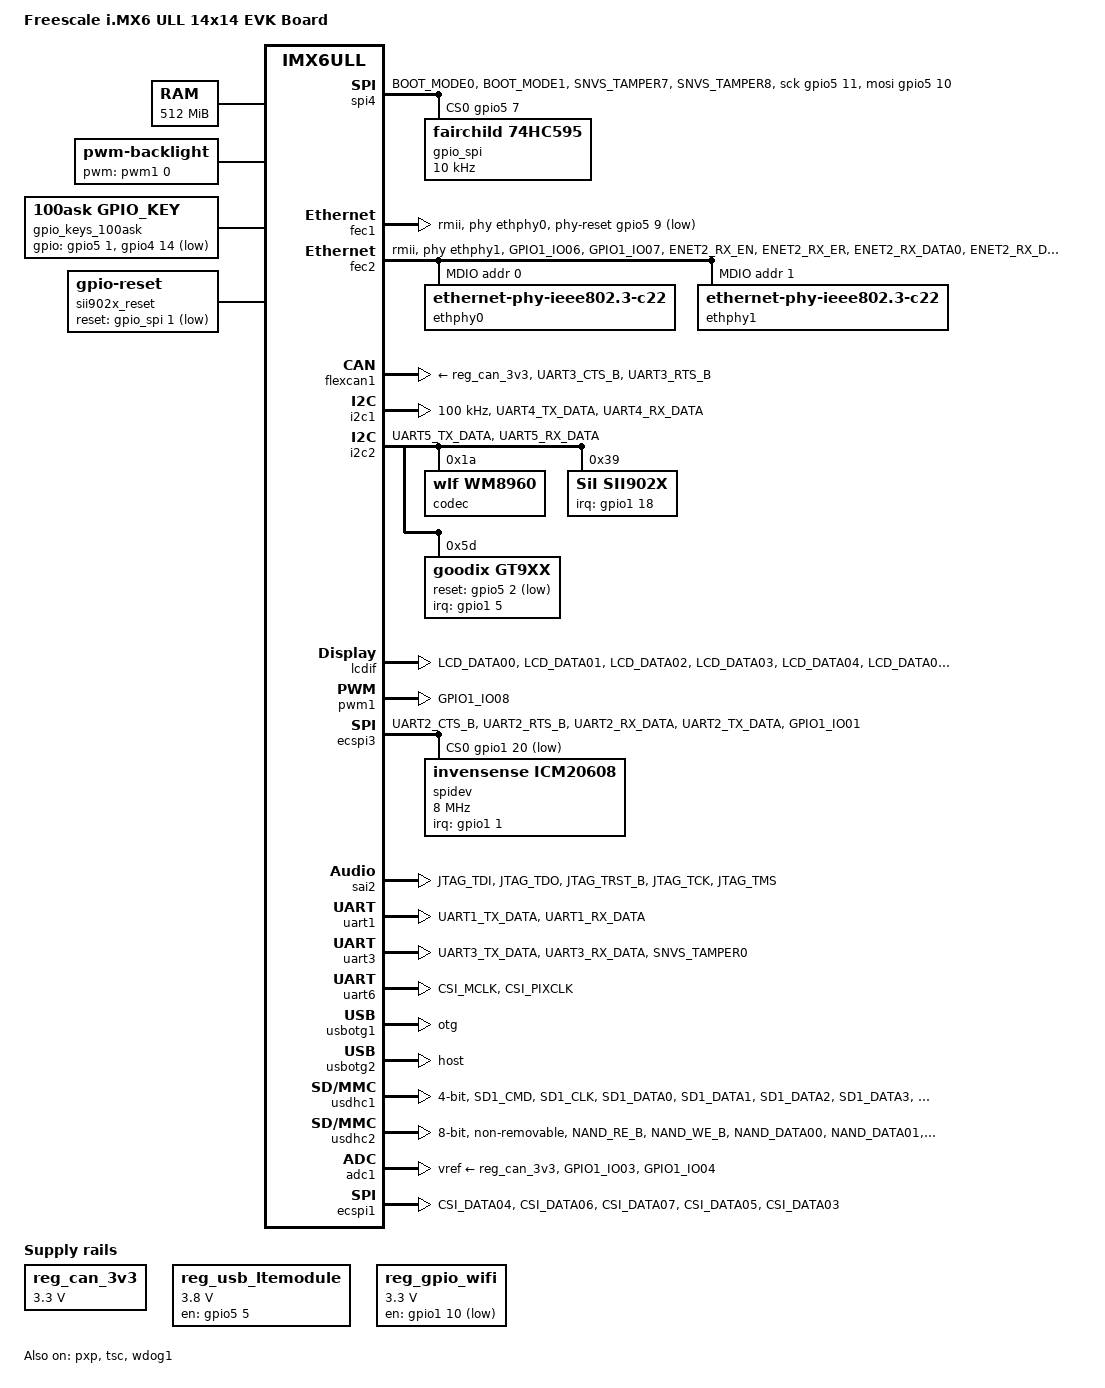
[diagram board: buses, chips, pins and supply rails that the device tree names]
/*
 * Copyright (C) 2016 Freescale Semiconductor, Inc.
 *
 * This program is free software; you can redistribute it and/or modify
 * it under the terms of the GNU General Public License version 2 as
 * published by the Free Software Foundation.
 */

/dts-v1/;

#include <dt-bindings/input/input.h>
#include "imx6ull.dtsi"

/ {
    model = "Freescale i.MX6 ULL 14x14 EVK Board";
    compatible = "fsl,imx6ull-14x14-evk", "fsl,imx6ull";

    chosen {
        stdout-path = &uart1;
    };

    memory {
        reg = <0x80000000 0x20000000>;
    };

    reserved-memory {
        #address-cells = <1>;
        #size-cells = <1>;
        ranges;

        linux,cma {
            compatible = "shared-dma-pool";
            reusable;
            size = <0x14000000>;
            linux,cma-default;
        };
    };

    backlight {
        compatible = "pwm-backlight";
        pwms = <&pwm1 0 1000>;
        brightness-levels = <0 1 2 3 4 5 6 8 10>;
        default-brightness-level = <8>;
        status = "okay";
    };

    pxp_v4l2 {
        compatible = "fsl,imx6ul-pxp-v4l2", "fsl,imx6sx-pxp-v4l2", "fsl,imx6sl-pxp-v4l2";
        status = "okay";
    };

    regulators {
        compatible = "simple-bus";
        #address-cells = <1>;
        #size-cells = <0>;

        reg_can_3v3: regulator@0 {
            compatible = "regulator-fixed";
            reg = <0>;
            regulator-name = "can-3v3";
            regulator-min-microvolt = <3300000>;
            regulator-max-microvolt = <3300000>;
        };

        reg_usb_ltemodule: regulator@1 {
            compatible = "regulator-fixed";
            regulator-name = "ltemodule-pwr";
            regulator-min-microvolt = <3800000>;
            regulator-max-microvolt = <3800000>;
            gpios = <&gpio5 5 GPIO_ACTIVE_HIGH>;
            enable-active-high;
            regulator-boot-on;
        };

        reg_gpio_wifi: regulator@2 {
            compatible = "regulator-fixed";
            regulator-name = "wifi-pwr";
            regulator-min-microvolt = <3300000>;
            regulator-max-microvolt = <3300000>;
            gpios = <&gpio1 10 GPIO_ACTIVE_LOW>;
            regulator-boot-on;
        };

    };

    leds {
        compatible = "gpio-leds";
        pinctrl-names = "default";
        pinctrl-0 = <&pinctrl_leds>;
        
        status = "disabled";

        led0: cpu {
            label = "cpu";
            gpios = <&gpio5 3 GPIO_ACTIVE_LOW>;
            default-state = "on";
            linux,default-trigger = "heartbeat";
        };
    };

    gpio_keys_100ask {
        compatible = "100ask,gpio_key";
	gpios = <&gpio5 1 GPIO_ACTIVE_HIGH
		 &gpio4 14 GPIO_ACTIVE_LOW>;
		
        pinctrl-names = "default";
        pinctrl-0 = <&key1_100ask &key2_100ask>;
    };

    gpio-keys {
        compatible = "gpio-keys";
        pinctrl-names = "default";
	status = "disabled";

        user1 {
            label = "User1 Button";
            gpios = <&gpio5 1 GPIO_ACTIVE_LOW>;
            gpio-key,wakeup;
            linux,code = <KEY_1>;
        };
        
        user2 {
            label = "User2 Button";
            gpios = <&gpio4 14 GPIO_ACTIVE_LOW>;
            gpio-key,wakeup;
            linux,code = <KEY_2>;
        };
    };
    sound {
            compatible = "fsl,imx6ul-evk-wm8960",
                     "fsl,imx-audio-wm8960";
            model = "wm8960-audio";
            cpu-dai = <&sai2>;
            audio-codec = <&codec>;
            asrc-controller = <&asrc>;
            codec-master;
            gpr = <&gpr 4 0x100000 0x100000>;
            hp-det = <3 0>;
            /*hp-det-gpios = <&gpio5 4 0>;
            mic-det-gpios = <&gpio5 4 0>;*/
            audio-routing =
                "Headphone Jack", "HP_L",
                "Headphone Jack", "HP_R",
                "Ext Spk", "SPK_LP",
                "Ext Spk", "SPK_LN",
                "Ext Spk", "SPK_RP",
                "Ext Spk", "SPK_RN",
                "LINPUT2", "Mic Jack",
                "LINPUT3", "Mic Jack",
                "RINPUT1", "Main MIC",
                "RINPUT2", "Main MIC",  
                "Mic Jack", "MICB",
                "Main MIC", "MICB",
                "CPU-Playback", "ASRC-Playback",
                "Playback", "CPU-Playback",
                "ASRC-Capture", "CPU-Capture",
                "CPU-Capture", "Capture";
                status = "okay";
        };
    
    spi4 {
        compatible = "spi-gpio";
        pinctrl-names = "default";
        pinctrl-0 = <&pinctrl_spi4>;
        pinctrl-assert-gpios = <&gpio5 8 GPIO_ACTIVE_LOW>;
        status = "okay";
        gpio-sck = <&gpio5 11 0>;
        gpio-mosi = <&gpio5 10 0>;
        cs-gpios = <&gpio5 7 0>;
        num-chipselects = <1>;
        #address-cells = <1>;
        #size-cells = <0>;

        gpio_spi: gpio_spi@0 {
            compatible = "fairchild,74hc595";
            gpio-controller;
            #gpio-cells = <2>;
            reg = <0>;
            registers-number = <1>;
            registers-default = /bits/ 8 <0x57>;
            spi-max-frequency = <10000>;
        };
    };
    
    sii902x_reset: sii902x-reset {
            compatible = "gpio-reset";
            reset-gpios = <&gpio_spi 1 GPIO_ACTIVE_LOW>;
            reset-delay-us = <100000>;
            #reset-cells = <0>;
            status = "okay";
        };

};

&gpmi{
    status = "disabled";
};
&cpu0 {
    arm-supply = <&reg_arm>;
    soc-supply = <&reg_soc>;
};

&clks {
    assigned-clocks = <&clks IMX6UL_CLK_PLL4_AUDIO_DIV>;
    assigned-clock-rates = <786432000>;
};

&fec1 {
    pinctrl-names = "default";
    pinctrl-0 = <&pinctrl_enet1>;
    phy-mode = "rmii";
    phy-handle = <&ethphy0>;
    phy-reset-gpios = <&gpio5 9 GPIO_ACTIVE_LOW>;
    phy-reset-duration = <26>;
    status = "okay";
};

&fec2 {
    pinctrl-names = "default";
    pinctrl-0 = <&pinctrl_enet2>;
    phy-mode = "rmii";
    phy-handle = <&ethphy1>;
    phy-reset-gpios = <&gpio5 6 GPIO_ACTIVE_LOW>;
    phy-reset-duration = <26>;
    status = "okay";

    mdio {
        #address-cells = <1>;
        #size-cells = <0>;

        ethphy0: ethernet-phy@0 {
            compatible = "ethernet-phy-ieee802.3-c22";
            smsc,disable-energy-detect;
            reg = <0>;
        };
        ethphy1: ethernet-phy@1 {
            compatible = "ethernet-phy-ieee802.3-c22";
            smsc,disable-energy-detect;
            reg = <1>;
        };
    };
};

&flexcan1 {
    pinctrl-names = "default";
    pinctrl-0 = <&pinctrl_flexcan1>;
    xceiver-supply = <&reg_can_3v3>;
    status = "okay";
};
&gpc {
    fsl,cpu_pupscr_sw2iso = <0x1>;
    fsl,cpu_pupscr_sw = <0x0>;
    fsl,cpu_pdnscr_iso2sw = <0x1>;
    fsl,cpu_pdnscr_iso = <0x1>;
    fsl,ldo-bypass = <0>; /* DCDC, ldo-enable */
};

&i2c1 {
    clock-frequency = <100000>;
    pinctrl-names = "default";
    pinctrl-0 = <&pinctrl_i2c1>;
    status = "okay";
};

&i2c2 {
    clock_frequency = <100000>;
    pinctrl-names = "default";
    pinctrl-0 = <&pinctrl_i2c2>;
    status = "okay";

    codec: wm8960@1a {
        compatible = "wlf,wm8960";
        reg = <0x1a>;
        clocks = <&clks IMX6UL_CLK_SAI2>;
        clock-names = "mclk";
        wlf,shared-lrclk;
        };
         sii902x: sii902x@39 {
                 compatible = "SiI,sii902x";
                 pinctrl-names = "default";
                 reset-names="sii902x";
                 pinctrl-0 = <&pinctrl_sii902x>;
                 resets = <&sii902x_reset>;
                 interrupt-parent = <&gpio1>;
                 interrupts = <18 IRQ_TYPE_EDGE_FALLING>;
                 mode_str ="1280x720M@60";
                 bits-per-pixel = <16>;
                 reg = <0x39>;
                 status = "okay";    
         };


        gt9xx@5d {
                compatible = "goodix,gt9xx";
                reg = <0x5d>;
                status = "okay";
                interrupt-parent = <&gpio1>;
                interrupts = <5 IRQ_TYPE_EDGE_FALLING>;
                pinctrl-names = "default";
                pinctrl-0 = <&pinctrl_tsc_reset &pinctrl_touchscreen_int>;
                /*pinctrl-1 = <&pinctrl_tsc_irq>;*/
                /*pinctrl-names = "default", "int-output-low", "int-output-high", "int-input";
                pinctrl-0 = <&ts_int_default>;
                pinctrl-1 = <&ts_int_output_low>;
                pinctrl-2 = <&ts_int_output_high>;
                pinctrl-3 = <&ts_int_input>;
                */
                reset-gpios = <&gpio5 2 GPIO_ACTIVE_LOW>;
                irq-gpios = <&gpio1 5 IRQ_TYPE_EDGE_FALLING>;
                irq-flags = <2>;                /*1:rising 2: falling*/

                touchscreen-max-id = <1>;
                touchscreen-size-x = <800>;
                touchscreen-size-y = <480>;
                touchscreen-max-w = <1024>;
                touchscreen-max-p = <1024>;
                /*touchscreen-key-map = <172>, <158>;*/ /*KEY_HOMEPAGE, KEY_BACK*/

                goodix,type-a-report = <0>;
                goodix,driver-send-cfg = <0>;
                goodix,create-wr-node = <1>;
                goodix,wakeup-with-reset = <0>;
                goodix,resume-in-workqueue = <0>;
                goodix,int-sync = <0>;
                goodix,swap-x2y = <0>;
                goodix,esd-protect = <0>;
                goodix,pen-suppress-finger = <0>;
                goodix,auto-update = <0>;
                goodix,auto-update-cfg = <0>;
                goodix,power-off-sleep = <0>;

                /*7*/
                goodix,cfg-group0 = [
                6b 00 04 58 02 05 0d 00 01 0f 
                28 0f 50 32 03 05 00 00 00 00 
                00 00 00 00 00 00 00 8a 2a 0c 
                45 47 0c 08 00 00 00 40 03 2c 
                00 01 00 00 00 03 64 32 00 00 
                00 28 64 94 d5 02 07 00 00 04 
                95 2c 00 8b 34 00 82 3f 00 7d 
                4c 00 7a 5b 00 7a 00 00 00 00 
                00 00 00 00 00 00 00 00 00 00 
                00 00 00 00 00 00 00 00 00 00 
                00 00 00 00 00 00 00 00 00 00 
                00 00 18 16 14 12 10 0e 0c 0a 
                08 06 04 02 ff ff 00 00 00 00 
                00 00 00 00 00 00 00 00 00 00 
                00 00 16 18 1c 1d 1e 1f 20 21 
                22 24 13 12 10 0f 0a 08 06 04 
                02 00 ff ff ff ff ff ff 00 00 
                00 00 00 00 00 00 00 00 00 00 
                00 00 00 00 79 01
                ];

                /*4.3*/
                goodix,cfg-group1 = [
                97 E0 01 10 01 05 0D 00 01 00
                00 05 5A 46 53 11 00 00 11 11
                14 14 14 22 0A 04 00 00 00 00
                00 00 53 00 14 00 00 84 00 00
                3C 00 00 64 1E 28 87 27 08 32
                34 05 0D 20 33 60 11 02 24 00
                00 64 80 80 14 02 00 00 54 89
                68 85 6D 82 72 80 76 7D 7B 7B
                00 00 00 00 00 00 00 F0 50 3C
                FF FF 07 00 00 00 02 14 14 03
                04 00 21 64 0A 00 00 00 00 00
                00 00 00 00 00 00 00 00 00 00
                00 00 00 00 00 00 00 00 00 00
                32 20 50 3C 3C 00 00 00 00 00
                0D 06 0C 05 0B 04 0A 03 FF FF
                FF FF FF FF 00 01 02 03 04 05
                06 07 08 09 0A 0B 0C 0D FF FF
                FF FF FF FF FF FF FF FF FF FF
                00 00 00 00 00 00 00 00 00 00
                00 00 00 00 3C 00 05 1E 00 02
                2A 1E 19 14 02 00 03 0A 05 00
                00 00 00 00 00 00 01 FF FF 86
                22 03 00 00 33 00 0F 00 00 00
                50 3C 50 00 00 00 00 2A 01
                ];

                /*5*/
                goodix,cfg-group2 = [
                00 20 03 E0 01 05 3C 00 01 08
                28 0C 50 32 03 05 00 00 00 00
                00 00 00 17 19 1E 14 8B 2B 0D
                33 35 0C 08 00 00 00 9A 03 11
                00 01 00 00 00 00 00 32 00 00
                00 20 58 94 C5 02 00 00 00 04
                B0 23 00 93 2B 00 7B 35 00 69
                41 00 5B 4F 00 5B 00 00 00 00
                00 00 00 00 00 00 00 00 00 00
                00 00 00 00 00 00 00 00 00 00
                00 00 00 00 00 00 00 00 00 00
                00 00 02 04 06 08 0A 0C 0E 10
                12 14 16 18 1A FF 00 00 00 00
                00 00 00 00 00 00 00 00 00 00
                00 00 00 02 04 06 08 0A 0C 0F
                10 12 13 16 18 1C 1D 1E 1F 20
                21 22 24 26 FF FF FF FF 00 00
                00 FF FF FF FF FF FF FF FF FF
                FF FF FF FF 48 01
                ];

        };


};

&iomuxc {
    pinctrl-names = "default";
    pinctrl-0 = <&pinctrl_hog_1>;
    imx6ul-evk {
        key2_100ask: key2_100ask {                /*!< Function assigned for the core: Cortex-A7[ca7] */
            fsl,pins = <
                MX6UL_PAD_NAND_CE1_B__GPIO4_IO14           0x000010B0
            >;
        };

        pinctrl_hog_1: hoggrp-1 {
            fsl,pins = <
                MX6UL_PAD_UART1_RTS_B__GPIO1_IO19   0x17059 /* SD1 CD */
                MX6UL_PAD_GPIO1_IO00__ANATOP_OTG1_ID    0x17059 /* USB OTG1 ID */
                // MX6UL_PAD_CSI_DATA07__GPIO4_IO28           0x000010B0
                MX6ULL_PAD_SNVS_TAMPER5__GPIO5_IO05        0x000110A0
            >;
        };
                pinctrl_sii902x: hdmigrp {
                fsl,pins = <
                        MX6UL_PAD_UART1_CTS_B__GPIO1_IO18 0x59
                            >;
            };
                pinctrl_touchscreen_int: lcdif_tsc_int {
                fsl,pins = <
                        MX6UL_PAD_GPIO1_IO05__GPIO1_IO05 0x000010B0
                            >;
                        };
        pinctrl_enet1: enet1grp {
            fsl,pins = <
            >;
        };

        pinctrl_enet2: enet2grp {
            fsl,pins = <
                MX6UL_PAD_GPIO1_IO06__ENET2_MDIO    0x1b0b0
                MX6UL_PAD_GPIO1_IO07__ENET2_MDC     0x1b0b0
                MX6UL_PAD_ENET2_RX_EN__ENET2_RX_EN  0x1b0b0
                MX6UL_PAD_ENET2_RX_ER__ENET2_RX_ER  0x1b0b0
                MX6UL_PAD_ENET2_RX_DATA0__ENET2_RDATA00 0x1b0b0
                MX6UL_PAD_ENET2_RX_DATA1__ENET2_RDATA01 0x1b0b0
                MX6UL_PAD_ENET2_TX_EN__ENET2_TX_EN  0x1b0b0
                MX6UL_PAD_ENET2_TX_DATA0__ENET2_TDATA00 0x1b0b0
                MX6UL_PAD_ENET2_TX_DATA1__ENET2_TDATA01 0x1b0b0
                MX6UL_PAD_ENET2_TX_CLK__ENET2_REF_CLK2  0x4001b031
                MX6UL_PAD_ENET1_RX_EN__ENET1_RX_EN  0x1b0b0
                MX6UL_PAD_ENET1_RX_ER__ENET1_RX_ER  0x1b0b0
                MX6UL_PAD_ENET1_RX_DATA0__ENET1_RDATA00 0x1b0b0
                MX6UL_PAD_ENET1_RX_DATA1__ENET1_RDATA01 0x1b0b0
                MX6UL_PAD_ENET1_TX_EN__ENET1_TX_EN  0x1b0b0
                MX6UL_PAD_ENET1_TX_DATA0__ENET1_TDATA00 0x1b0b0
                MX6UL_PAD_ENET1_TX_DATA1__ENET1_TDATA01 0x1b0b0
                MX6UL_PAD_ENET1_TX_CLK__ENET1_REF_CLK1  0x4001b031
            >;
        };

        pinctrl_flexcan1: flexcan1grp{
            fsl,pins = <
                MX6UL_PAD_UART3_CTS_B__FLEXCAN1_TX         0x000010B0
                MX6UL_PAD_UART3_RTS_B__FLEXCAN1_RX         0x000010B0
            >;
        };

        pinctrl_i2c1: i2c1grp {
            fsl,pins = <
                MX6UL_PAD_UART4_TX_DATA__I2C1_SCL 0x4001b8b0
                MX6UL_PAD_UART4_RX_DATA__I2C1_SDA 0x4001b8b0
            >;
        };

        pinctrl_i2c2: i2c2grp {
            fsl,pins = <
                MX6UL_PAD_UART5_TX_DATA__I2C2_SCL 0x4001b8b0
                MX6UL_PAD_UART5_RX_DATA__I2C2_SDA 0x4001b8b0
            >;
        };

        pinctrl_ecspi3: ecspi3 {              
                    fsl,pins = <
                MX6UL_PAD_UART2_CTS_B__ECSPI3_MOSI         0x000010B0
                MX6UL_PAD_UART2_RTS_B__ECSPI3_MISO         0x000010B0
                MX6UL_PAD_UART2_RX_DATA__ECSPI3_SCLK       0x000010B0
                //MX6UL_PAD_UART2_TX_DATA__ECSPI3_SS0        0x000010B0
                MX6UL_PAD_UART2_TX_DATA__GPIO1_IO20        0x000010B0
                MX6UL_PAD_GPIO1_IO01__GPIO1_IO01           0x000010B0
            >;
        };

        pinctrl_ecspi1: ecspi1 {
                     fsl,pins = <
                 MX6UL_PAD_CSI_DATA04__ECSPI1_SCLK         0x000010B0
                 MX6UL_PAD_CSI_DATA06__ECSPI1_MOSI         0x000010B0
                 MX6UL_PAD_CSI_DATA07__ECSPI1_MISO         0x000010B0
                 MX6UL_PAD_CSI_DATA05__GPIO4_IO26          0x000010B0
                 MX6UL_PAD_CSI_DATA03__GPIO4_IO24          0x000010B0
             >;
         };

        pinctrl_uart3: uart3grp {
            fsl,pins = <
                MX6UL_PAD_UART3_TX_DATA__UART3_DCE_TX   0x1b0b1
                MX6UL_PAD_UART3_RX_DATA__UART3_DCE_RX   0x1b0b1
            >;
        };
        
        pinctrl_uart1: uart1grp {
            fsl,pins = <
                MX6UL_PAD_UART1_TX_DATA__UART1_DCE_TX 0x1b0b1
                MX6UL_PAD_UART1_RX_DATA__UART1_DCE_RX 0x1b0b1
            >;
        };

        pinctrl_uart6: uart6grp {
             fsl,pins = <
                 MX6UL_PAD_CSI_MCLK__UART6_DCE_TX      0x1b0b1
                 MX6UL_PAD_CSI_PIXCLK__UART6_DCE_RX    0x1b0b1
             >;
         };


        pinctrl_sai2: sai2grp {
            fsl,pins = <
                MX6UL_PAD_JTAG_TDI__SAI2_TX_BCLK    0x17088
                MX6UL_PAD_JTAG_TDO__SAI2_TX_SYNC    0x17088
                MX6UL_PAD_JTAG_TRST_B__SAI2_TX_DATA 0x11088
                MX6UL_PAD_JTAG_TCK__SAI2_RX_DATA    0x11088
                MX6UL_PAD_JTAG_TMS__SAI2_MCLK       0x17088
            >;
        };

        pinctrl_tsc: tscgrp {
            fsl,pins = <
                MX6UL_PAD_GPIO1_IO01__GPIO1_IO01    0xb0
                MX6UL_PAD_GPIO1_IO02__GPIO1_IO02    0xb0
                MX6UL_PAD_GPIO1_IO03__GPIO1_IO03    0xb0
                MX6UL_PAD_GPIO1_IO04__GPIO1_IO04    0xb0
            >;
        };

        pinctrl_usdhc1: usdhc1grp {
            fsl,pins = <
                MX6UL_PAD_SD1_CMD__USDHC1_CMD     0x17059
                MX6UL_PAD_SD1_CLK__USDHC1_CLK     0x10071
                MX6UL_PAD_SD1_DATA0__USDHC1_DATA0 0x17059
                MX6UL_PAD_SD1_DATA1__USDHC1_DATA1 0x17059
                MX6UL_PAD_SD1_DATA2__USDHC1_DATA2 0x17059
                MX6UL_PAD_SD1_DATA3__USDHC1_DATA3 0x17059
            >;
        };

        pinctrl_usdhc1_100mhz: usdhc1grp100mhz {
            fsl,pins = <
                MX6UL_PAD_SD1_CMD__USDHC1_CMD     0x170b9
                MX6UL_PAD_SD1_CLK__USDHC1_CLK     0x100b9
                MX6UL_PAD_SD1_DATA0__USDHC1_DATA0 0x170b9
                MX6UL_PAD_SD1_DATA1__USDHC1_DATA1 0x170b9
                MX6UL_PAD_SD1_DATA2__USDHC1_DATA2 0x170b9
                MX6UL_PAD_SD1_DATA3__USDHC1_DATA3 0x170b9
            >;
        };

        pinctrl_usdhc1_200mhz: usdhc1grp200mhz {
            fsl,pins = <
                MX6UL_PAD_SD1_CMD__USDHC1_CMD     0x170f9
                MX6UL_PAD_SD1_CLK__USDHC1_CLK     0x100f9
                MX6UL_PAD_SD1_DATA0__USDHC1_DATA0 0x170f9
                MX6UL_PAD_SD1_DATA1__USDHC1_DATA1 0x170f9
                MX6UL_PAD_SD1_DATA2__USDHC1_DATA2 0x170f9
                MX6UL_PAD_SD1_DATA3__USDHC1_DATA3 0x170f9
            >;
        };

        pinctrl_usdhc2: usdhc2grp {
            fsl,pins = <
                MX6UL_PAD_NAND_RE_B__USDHC2_CLK     0x10069
                MX6UL_PAD_NAND_WE_B__USDHC2_CMD     0x17059
                MX6UL_PAD_NAND_DATA00__USDHC2_DATA0 0x17059
                MX6UL_PAD_NAND_DATA01__USDHC2_DATA1 0x17059
                MX6UL_PAD_NAND_DATA02__USDHC2_DATA2 0x17059
                MX6UL_PAD_NAND_DATA03__USDHC2_DATA3 0x17059
            >;
        };

        pinctrl_usdhc2_8bit: usdhc2grp_8bit {
            fsl,pins = <
                MX6UL_PAD_NAND_RE_B__USDHC2_CLK     0x10069
                MX6UL_PAD_NAND_WE_B__USDHC2_CMD     0x17059
                MX6UL_PAD_NAND_DATA00__USDHC2_DATA0 0x17059
                MX6UL_PAD_NAND_DATA01__USDHC2_DATA1 0x17059
                MX6UL_PAD_NAND_DATA02__USDHC2_DATA2 0x17059
                MX6UL_PAD_NAND_DATA03__USDHC2_DATA3 0x17059
                MX6UL_PAD_NAND_DATA04__USDHC2_DATA4 0x17059
                MX6UL_PAD_NAND_DATA05__USDHC2_DATA5 0x17059
                MX6UL_PAD_NAND_DATA06__USDHC2_DATA6 0x17059
                MX6UL_PAD_NAND_DATA07__USDHC2_DATA7 0x17059
            >;
        };

        pinctrl_usdhc2_8bit_100mhz: usdhc2grp_8bit_100mhz {
            fsl,pins = <
                MX6UL_PAD_NAND_RE_B__USDHC2_CLK     0x100b9
                MX6UL_PAD_NAND_WE_B__USDHC2_CMD     0x170b9
                MX6UL_PAD_NAND_DATA00__USDHC2_DATA0 0x170b9
                MX6UL_PAD_NAND_DATA01__USDHC2_DATA1 0x170b9
                MX6UL_PAD_NAND_DATA02__USDHC2_DATA2 0x170b9
                MX6UL_PAD_NAND_DATA03__USDHC2_DATA3 0x170b9
                MX6UL_PAD_NAND_DATA04__USDHC2_DATA4 0x170b9
                MX6UL_PAD_NAND_DATA05__USDHC2_DATA5 0x170b9
                MX6UL_PAD_NAND_DATA06__USDHC2_DATA6 0x170b9
                MX6UL_PAD_NAND_DATA07__USDHC2_DATA7 0x170b9
            >;
        };

        pinctrl_usdhc2_8bit_200mhz: usdhc2grp_8bit_200mhz {
            fsl,pins = <
                MX6UL_PAD_NAND_RE_B__USDHC2_CLK     0x100f9
                MX6UL_PAD_NAND_WE_B__USDHC2_CMD     0x170f9
                MX6UL_PAD_NAND_DATA00__USDHC2_DATA0 0x170f9
                MX6UL_PAD_NAND_DATA01__USDHC2_DATA1 0x170f9
                MX6UL_PAD_NAND_DATA02__USDHC2_DATA2 0x170f9
                MX6UL_PAD_NAND_DATA03__USDHC2_DATA3 0x170f9
                MX6UL_PAD_NAND_DATA04__USDHC2_DATA4 0x170f9
                MX6UL_PAD_NAND_DATA05__USDHC2_DATA5 0x170f9
                MX6UL_PAD_NAND_DATA06__USDHC2_DATA6 0x170f9
                MX6UL_PAD_NAND_DATA07__USDHC2_DATA7 0x170f9
            >;
        };
        pinctrl_lcdif_dat: lcdifdatgrp {
            fsl,pins = <
                MX6UL_PAD_LCD_DATA00__LCDIF_DATA00  0x79
                MX6UL_PAD_LCD_DATA01__LCDIF_DATA01  0x79
                MX6UL_PAD_LCD_DATA02__LCDIF_DATA02  0x79
                MX6UL_PAD_LCD_DATA03__LCDIF_DATA03  0x79
                MX6UL_PAD_LCD_DATA04__LCDIF_DATA04  0x79
                MX6UL_PAD_LCD_DATA05__LCDIF_DATA05  0x79
                MX6UL_PAD_LCD_DATA06__LCDIF_DATA06  0x79
                MX6UL_PAD_LCD_DATA07__LCDIF_DATA07  0x79
                MX6UL_PAD_LCD_DATA08__LCDIF_DATA08  0x79
                MX6UL_PAD_LCD_DATA09__LCDIF_DATA09  0x79
                MX6UL_PAD_LCD_DATA10__LCDIF_DATA10  0x79
                MX6UL_PAD_LCD_DATA11__LCDIF_DATA11  0x79
                MX6UL_PAD_LCD_DATA12__LCDIF_DATA12  0x79
                MX6UL_PAD_LCD_DATA13__LCDIF_DATA13  0x79
                MX6UL_PAD_LCD_DATA14__LCDIF_DATA14  0x79
                MX6UL_PAD_LCD_DATA15__LCDIF_DATA15  0x79
                MX6UL_PAD_LCD_DATA16__LCDIF_DATA16  0x79
                MX6UL_PAD_LCD_DATA17__LCDIF_DATA17  0x79
                MX6UL_PAD_LCD_DATA18__LCDIF_DATA18  0x79
                MX6UL_PAD_LCD_DATA19__LCDIF_DATA19  0x79
                MX6UL_PAD_LCD_DATA20__LCDIF_DATA20  0x79
                MX6UL_PAD_LCD_DATA21__LCDIF_DATA21  0x79
                MX6UL_PAD_LCD_DATA22__LCDIF_DATA22  0x79
                MX6UL_PAD_LCD_DATA23__LCDIF_DATA23  0x79
            >;
        };

        pinctrl_lcdif_dat_16bits: lcdifdatgrp_16bits {
            fsl,pins = <
                MX6UL_PAD_LCD_DATA00__LCDIF_DATA00  0x79
                MX6UL_PAD_LCD_DATA01__LCDIF_DATA01  0x79
                MX6UL_PAD_LCD_DATA02__LCDIF_DATA02  0x79
                MX6UL_PAD_LCD_DATA03__LCDIF_DATA03  0x79
                MX6UL_PAD_LCD_DATA04__LCDIF_DATA04  0x79
                MX6UL_PAD_LCD_DATA05__LCDIF_DATA05  0x79
                MX6UL_PAD_LCD_DATA06__LCDIF_DATA06  0x79
                MX6UL_PAD_LCD_DATA07__LCDIF_DATA07  0x79
                MX6UL_PAD_LCD_DATA08__LCDIF_DATA08  0x79
                MX6UL_PAD_LCD_DATA09__LCDIF_DATA09  0x79
                MX6UL_PAD_LCD_DATA10__LCDIF_DATA10  0x79
                MX6UL_PAD_LCD_DATA11__LCDIF_DATA11  0x79
                MX6UL_PAD_LCD_DATA12__LCDIF_DATA12  0x79
                MX6UL_PAD_LCD_DATA13__LCDIF_DATA13  0x79
                MX6UL_PAD_LCD_DATA14__LCDIF_DATA14  0x79
                MX6UL_PAD_LCD_DATA15__LCDIF_DATA15  0x79
            >;
        };

        pinctrl_lcdif_ctrl: lcdifctrlgrp {
            fsl,pins = <
                MX6UL_PAD_LCD_CLK__LCDIF_CLK        0x79
                MX6UL_PAD_LCD_ENABLE__LCDIF_ENABLE  0x79
                MX6UL_PAD_LCD_HSYNC__LCDIF_HSYNC    0x79
                MX6UL_PAD_LCD_VSYNC__LCDIF_VSYNC    0x79
            >;
        };
        pinctrl_pwm1: pwm1grp {
            fsl,pins = <
                MX6UL_PAD_GPIO1_IO08__PWM1_OUT   0x110b0
            >;
        };
        pinctrl_lcdif_reset: lcdifresetgrp {
            fsl,pins = <
                MX6UL_PAD_LCD_RESET__GPIO3_IO04     0x1b0b0
            >;
        };

        pinctrl_adc1: adc1grp {
            fsl,pins = <
                MX6UL_PAD_GPIO1_IO03__GPIO1_IO03          0x000010B1
                MX6UL_PAD_GPIO1_IO04__GPIO1_IO04          0x000010B1
                >;
        };

    };
};

&iomuxc_snvs {
    pinctrl-names = "default_snvs";
    pinctrl-0 = <&pinctrl_hog_2>;
    imx6ul-evk {
        key1_100ask: key1_100ask {        /*!< Function assigned for the core: Cortex-A7[ca7] */
            fsl,pins = <
                MX6ULL_PAD_SNVS_TAMPER1__GPIO5_IO01        0x000110A0
            >;
        };

        pinctrl_hog_2: hoggrp-2 {
            fsl,pins = <
                MX6ULL_PAD_SNVS_TAMPER9__GPIO5_IO09     0x1b0b0 /* enet1 reset */
                MX6ULL_PAD_SNVS_TAMPER6__GPIO5_IO06     0x1b0b0 /* enet2 reset */
                MX6ULL_PAD_SNVS_TAMPER1__GPIO5_IO01     0x000110A0 /*key 1*/
            >;
        };

         pinctrl_tsc_reset: tscresetgrp  {        /*!< Function assigned for the core: Cortex-A7[ca7] */
            fsl,pins = <
                MX6ULL_PAD_SNVS_TAMPER2__GPIO5_IO02        0x000110A0
            >;
        };

        pinctrl_spi4: spi4grp {
            fsl,pins = <
                MX6ULL_PAD_BOOT_MODE0__GPIO5_IO10        0x70a1
                MX6ULL_PAD_BOOT_MODE1__GPIO5_IO11        0x70a1
                MX6ULL_PAD_SNVS_TAMPER7__GPIO5_IO07      0x70a1
                MX6ULL_PAD_SNVS_TAMPER8__GPIO5_IO08      0x80000000
            >;
        };

        pinctrl_leds: ledgrp {
            fsl,pins = <
                  MX6ULL_PAD_SNVS_TAMPER3__GPIO5_IO03        0x000110A0
            >;
        };

        pinctrl_485_ctl: uart3_rs485 {
            fsl,pins = <
            MX6ULL_PAD_SNVS_TAMPER0__GPIO5_IO00     0x1b0b0
            >;
        };
        
    };
};

&lcdif {
    pinctrl-names = "default";
    pinctrl-0 = <&pinctrl_lcdif_dat
             &pinctrl_lcdif_ctrl
             &pinctrl_lcdif_reset>; 
    display = <&display0>;
    status = "okay";
    reset-gpios = <&gpio3 4 GPIO_ACTIVE_LOW>; /* 100ask */

    display0: display {
        bits-per-pixel = <24>;
        bus-width = <24>;

        display-timings {
            native-mode = <&timing0>;

             timing0: timing0_1024x768 {
             clock-frequency = <50000000>;
             hactive = <1024>;
             vactive = <600>;
             hfront-porch = <160>;
             hback-porch = <140>;
             hsync-len = <20>;
             vback-porch = <20>;
             vfront-porch = <12>;
             vsync-len = <3>;

             hsync-active = <0>;
             vsync-active = <0>;
             de-active = <1>;
             pixelclk-active = <0>;
             };

        };
    };
};

&pwm1 {
    pinctrl-names = "default";
    pinctrl-0 = <&pinctrl_pwm1>;
    status = "okay";
};

&pxp {
    status = "okay";
};
&ecspi3 { 
    pinctrl-names = "default";
    pinctrl-0 = <&pinctrl_ecspi3>;
    cs-gpios = <&gpio1 20 GPIO_ACTIVE_LOW>;
    status = "okay";
    
    
    spidev: icm20608@0{
        compatible = "invensense,icm20608";
        interrupt-parent = <&gpio1>;
        interrupts = <1 1>;
        spi-max-frequency = <8000000>; 
        reg = <0>; 
    };
};

&sai2 {
    pinctrl-names = "default";
    pinctrl-0 = <&pinctrl_sai2>;

    assigned-clocks = <&clks IMX6UL_CLK_SAI2_SEL>,
              <&clks IMX6UL_CLK_SAI2>;
    assigned-clock-parents = <&clks IMX6UL_CLK_PLL4_AUDIO_DIV>;
    assigned-clock-rates = <0>, <12288000>;

    status = "okay";
};

&tsc {
    pinctrl-names = "default";
    pinctrl-0 = <&pinctrl_tsc>;
    xnur-gpio = <&gpio1 3 GPIO_ACTIVE_LOW>;
    measure-delay-time = <0xfffff>;
    pre-charge-time = <0xffff>;
    status = "okay";
};

&uart1 {
    pinctrl-names = "default";
    pinctrl-0 = <&pinctrl_uart1>;
    status = "okay";
};
&uart3 {
    pinctrl-names = "default";
    pinctrl-0 = <&pinctrl_uart3
             &pinctrl_485_ctl>;
    //pinctrl-0 = <&pinctrl_uart3>;
    //fsl,rs485-gpio-txen = <&gpio5 0 GPIO_ACTIVE_HIGH>;
    //rts-gpio = <&gpio5 0 GPIO_ACTIVE_HIGH>;
    rs485-rts-active-high;
    //rs485-rts-active-high;
        rs485-rx-during-tx;
        rs485-rts-delay = <100 100>;
        linux,rs485-enabled-at-boot-time;
    status = "okay";
};
 
&uart6 {
    pinctrl-names = "default";
    pinctrl-0 = <&pinctrl_uart6>;
    status = "okay";
};


&usbotg1 {
    dr_mode = "otg";
    srp-disable;
    hnp-disable;
    adp-disable;
    status = "okay";
};

&usbotg2 {
    dr_mode = "host";
    disable-over-current;
    status = "okay";
};

&usbphy1 {
    tx-d-cal = <0x5>;
};

&usbphy2 {
    tx-d-cal = <0x5>;
};

&usdhc1 {
    pinctrl-names = "default";
    pinctrl-0 = <&pinctrl_usdhc1>;
    cd-gpios = <&gpio1 19 GPIO_ACTIVE_LOW>;
    keep-power-in-suspend;
    enable-sdio-wakeup;
    bus-width = <4>;
    status = "okay";
};

&usdhc2 {
        pinctrl-names = "default";
        pinctrl-0 = <&pinctrl_usdhc2_8bit>;
        bus-width = <8>;
        non-removable;
        status = "okay";
};

&wdog1 {
    status = "okay";
};

&adc1 {
    pinctrl-names = "default";
    pinctrl-0 = <&pinctrl_adc1>;
    num-channels = <5>;
    vref-supply = <&reg_can_3v3>;
    status = "okay";
};

&ecspi1 {
    pinctrl-names = "default";
    pinctrl-0 = <&pinctrl_ecspi1>;
    
    fsl,spi-num-chipselects = <2>;
    cs-gpio = <&gpio4 26 GPIO_ACTIVE_LOW>, <&gpio4 24 GPIO_ACTIVE_LOW>;
    status = "okay";
    /*   
    spidev0: spi@0 {
        compatible = "rohm,dh2228fv";
        reg = <0>;
        spi-max-frequency = <5000000>;
    };
    
    spidev1: spi@1 {
        compatible = "rohm,dh2228fv";
        reg = <1>;
        spi-max-frequency = <5000000>;
    };
    */
    
};

